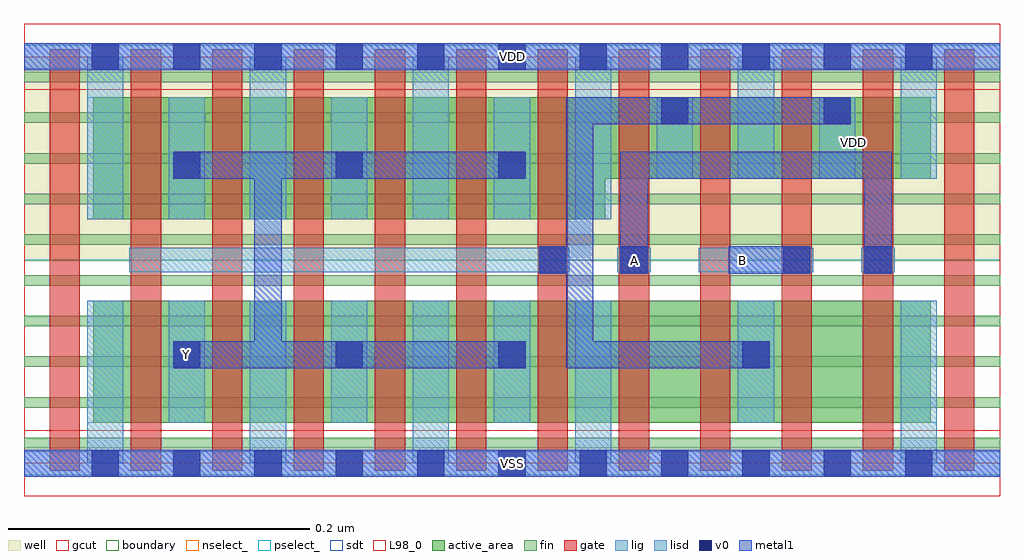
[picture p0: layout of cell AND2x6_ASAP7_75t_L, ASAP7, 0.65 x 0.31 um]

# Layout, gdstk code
import gdstk
lib = gdstk.Library(unit=1e-6, precision=2.5e-10)
def R(c, l, rs):  # rectangles x0, y0, x1, y1
    for r in rs: c.add(gdstk.rectangle(r[:2], r[2:], *l))
def A(c, l, x, y, w, h, nx, ny, dx, dy):  # array of equal rectangles
    R(c, l, [(x+i*dx, y+j*dy, x+i*dx+w, y+j*dy+h) for i in range(nx) for j in range(ny)])
def P(c, l, *ps):  # polygons
    for p in ps: c.add(gdstk.Polygon(p, *l))
well = (1, 0)
fin = (2, 0)
gate = (7, 0)
gcut = (10, 0)
active_area = (11, 0)
nselect_ = (12, 0)
pselect_ = (13, 0)
lig = (16, 0)
lisd = (17, 0)
v0 = (18, 0)
metal1 = (19, 0)
sdt = (88, 0)
L98_0 = (98, 0)
boundary = (100, 0)

and2x6_asap7_75t_l = lib.new_cell('AND2x6_ASAP7_75t_L')
R(and2x6_asap7_75t_l, well, [(0,0.135,0.648,0.27)])
A(and2x6_asap7_75t_l, fin, 0, 0.01, 0.648, 0.007, 1, 10, 0, 0.027)
A(and2x6_asap7_75t_l, gate, 0.017, -0.005, 0.02, 0.28, 12, 1, 0.054, 0)
R(and2x6_asap7_75t_l, gcut, [(0,-0.022,0.648,0.022), (0,0.248,0.648,0.292)])
R(and2x6_asap7_75t_l, active_area, [(0.046,0.027,0.602,0.108)])
P(and2x6_asap7_75t_l, active_area, [(0.602,0.243),(0.046,0.243),(0.046,0.162),(0.386,0.162),(0.386,0.189),(0.602,0.189)])
R(and2x6_asap7_75t_l, nselect_, [(0,0,0.648,0.135)])
R(and2x6_asap7_75t_l, pselect_, [(0,0.135,0.648,0.27)])
R(and2x6_asap7_75t_l, lig, [(0,-0.008,0.648,0.008), (0.07,0.127,0.362,0.143), (0.394,0.127,0.416,0.143), (0.448,0.127,0.524,0.143), (0.556,0.127,0.578,0.143), (0,0.262,0.648,0.278)])
A(and2x6_asap7_75t_l, lisd, 0.042, 0, 0.024, 0.108, 4, 2, 0.108, 0.162)
A(and2x6_asap7_75t_l, lisd, 0.096, 0.027, 0.024, 0.081, 3, 2, 0.108, 0.135)
R(and2x6_asap7_75t_l, lisd, [(0.582,0,0.606,0.108), (0.474,0.027,0.498,0.108), (0.42,0.189,0.444,0.243), (0.474,0.189,0.498,0.27), (0.528,0.189,0.552,0.243), (0.582,0.189,0.606,0.27)])
A(and2x6_asap7_75t_l, v0, 0.045, -0.009, 0.018, 0.018, 11, 2, 0.054, 0.27)
A(and2x6_asap7_75t_l, v0, 0.099, 0.063, 0.018, 0.018, 3, 2, 0.108, 0.126)
R(and2x6_asap7_75t_l, v0, [(0.477,0.063,0.495,0.081), (0.342,0.126,0.36,0.144), (0.396,0.126,0.414,0.144), (0.504,0.126,0.522,0.144), (0.558,0.126,0.576,0.144), (0.423,0.225,0.441,0.243), (0.531,0.225,0.549,0.243)])
R(and2x6_asap7_75t_l, metal1, [(0,-0.009,0.648,0.009), (0.468,0.126,0.522,0.144), (0,0.261,0.648,0.279)])
P(and2x6_asap7_75t_l, metal1, [(0.396,0.207),(0.396,0.126),(0.414,0.126),(0.414,0.189),(0.558,0.189),(0.558,0.126),(0.576,0.126),(0.576,0.207)],
  [(0.333,0.081),(0.171,0.081),(0.171,0.189),(0.333,0.189),(0.333,0.207),(0.099,0.207),(0.099,0.189),(0.153,0.189),(0.153,0.081),(0.099,0.081),(0.099,0.063),(0.333,0.063)],
  [(0.495,0.081),(0.378,0.081),(0.378,0.225),(0.549,0.225),(0.549,0.243),(0.36,0.243),(0.36,0.144),(0.342,0.144),(0.342,0.126),(0.36,0.126),(0.36,0.063),(0.495,0.063)])
A(and2x6_asap7_75t_l, sdt, 0.042, 0.027, 0.024, 0.081, 7, 2, 0.054, 0.135)
A(and2x6_asap7_75t_l, sdt, 0.42, 0.189, 0.024, 0.054, 4, 1, 0.054, 0)
R(and2x6_asap7_75t_l, sdt, [(0.474,0.027,0.498,0.108), (0.582,0.027,0.606,0.108)])
R(and2x6_asap7_75t_l, L98_0, [(0,0,0.648,0.27)])
R(and2x6_asap7_75t_l, boundary, [(0,0,0.648,0.27)])
and2x6_asap7_75t_l.add(gdstk.Label('A', (0.405,0.135), layer=19, texttype=251))
and2x6_asap7_75t_l.add(gdstk.Label('B', (0.477,0.135), layer=19, texttype=251))
and2x6_asap7_75t_l.add(gdstk.Label('Y', (0.108,0.072), layer=19, texttype=251))
and2x6_asap7_75t_l.add(gdstk.Label('VSS', (0.324,0), layer=19, texttype=251))
and2x6_asap7_75t_l.add(gdstk.Label('VDD', (0.324,0.27), layer=19, texttype=251))
and2x6_asap7_75t_l.add(gdstk.Label('VDD', (0.551,0.213), layer=1, texttype=251))
and2x6_asap7_75t_l.add(gdstk.Label('VSS', (0.745,0.213), layer=3, texttype=251))

lib.write_gds('AND2x6_ASAP7_75t_L.gds')
